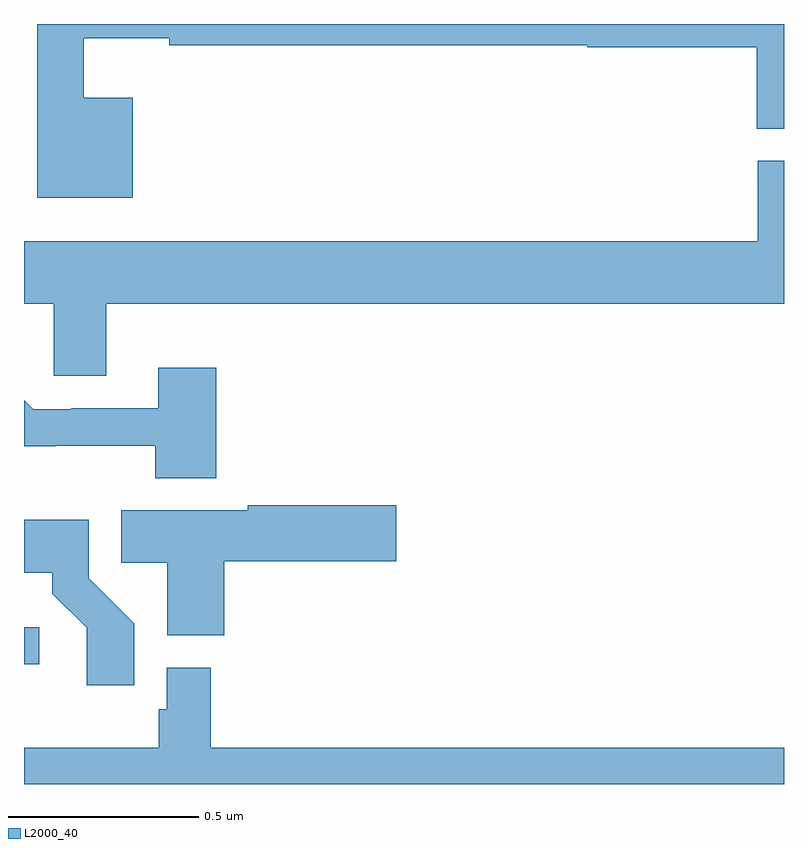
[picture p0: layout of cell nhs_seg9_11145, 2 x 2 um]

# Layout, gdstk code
import gdstk
lib = gdstk.Library(unit=1e-6, precision=1e-09)
def R(c, l, rs):  # rectangles x0, y0, x1, y1
    for r in rs: c.add(gdstk.rectangle(r[:2], r[2:], *l))
def P(c, l, *ps):  # polygons
    for p in ps: c.add(gdstk.Polygon(p, *l))
L2000_40 = (2000, 40)

nhs_seg9_11145 = lib.new_cell('nhs_seg9_11145')
R(nhs_seg9_11145, L2000_40, [(252,1184.815,252.04,1184.913)])
P(nhs_seg9_11145, L2000_40, [(252.286,1186.306),(252.157,1186.306),(252.157,1186.463),(252.382,1186.463),(252.382,1186.444),(253.482,1186.444),(253.482,1186.439),(253.928,1186.439),(253.928,1186.225),(254,1186.225),(254,1186.5),(252.035,1186.5),(252.035,1186.043),(252.286,1186.043)],
  [(252.217,1185.764),(254,1185.764),(254,1186.14),(253.931,1186.14),(253.931,1185.928),(252,1185.928),(252,1185.764),(252.078,1185.764),(252.078,1185.574),(252.217,1185.574)],
  [(252.506,1185.595),(252.353,1185.595),(252.353,1185.489),(252.124,1185.489),(252.124,1185.486),(252.024,1185.486),(252,1185.51),(252,1185.389),(252.082,1185.389),(252.082,1185.39),(252.346,1185.39),(252.346,1185.305),(252.506,1185.305)],
  [(252.527,1185.086),(252.979,1185.086),(252.979,1185.233),(252.589,1185.233),(252.589,1185.22),(252.256,1185.22),(252.256,1185.082),(252.377,1185.082),(252.377,1184.891),(252.527,1184.891)],
  [(252.29,1184.922),(252.171,1185.041),(252.171,1185.196),(252,1185.196),(252,1185.056),(252.074,1185.056),(252.074,1185.001),(252.165,1184.911),(252.165,1184.76),(252.29,1184.76)],
  [(254,1184.596),(252.491,1184.596),(252.491,1184.806),(252.375,1184.806),(252.375,1184.697),(252.355,1184.697),(252.355,1184.596),(252,1184.596),(252,1184.5),(254,1184.5)])

lib.write_gds('nhs_seg9_11145.gds')
